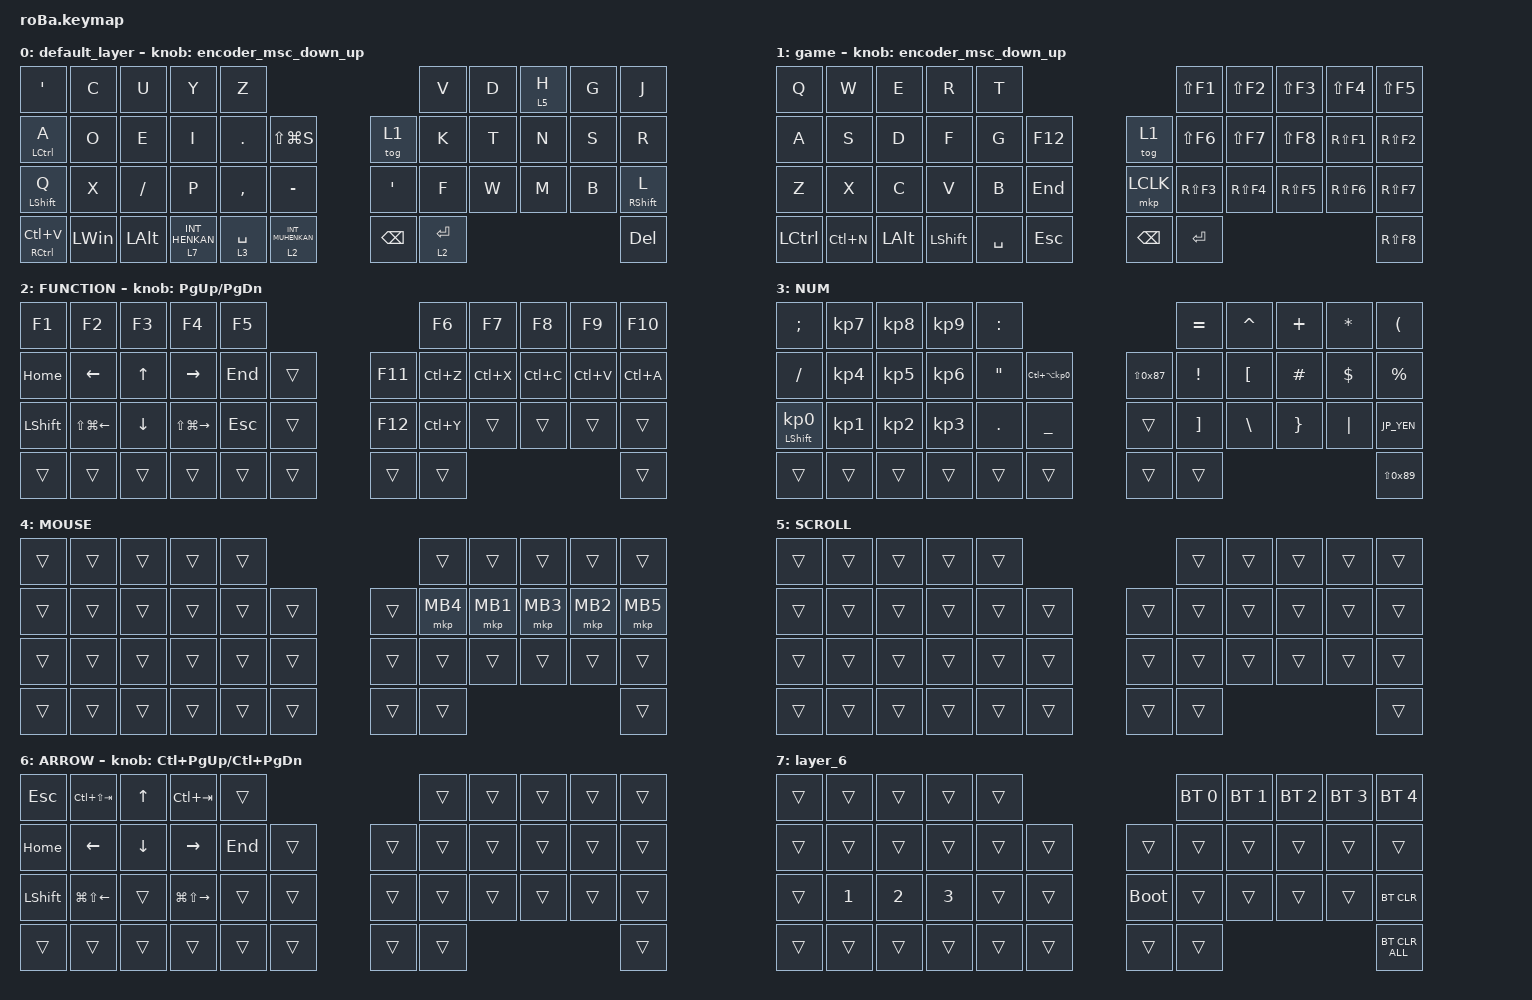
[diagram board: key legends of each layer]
#include <input/processors.dtsi>
#include <behaviors.dtsi>
#include <dt-bindings/zmk/bt.h>
#include <dt-bindings/zmk/keys.h>
#include <dt-bindings/zmk/pointing.h>

#define JP_DQUOTE       AT                // "
#define JP_AMPERSAND    CARET             // &
#define JP_QUOTE        AMPERSAND         // '
#define JP_EQUAL        UNDER             // =
#define JP_CARET        EQUAL             // ^
#define JP_YEN          0x89              // ¥
#define JP_PLUS         COLON             // +
#define JP_TILDE        PLUS              // ~
#define JP_PIPE         LS(0x89)          // |
#define JP_AT           LEFT_BRACKET      // @
#define JP_COLON        SINGLE_QUOTE      // :
#define JP_ASTERISK     DOUBLE_QUOTES     // *
#define JP_BACKQUOTE    LEFT_BRACE        // `
#define JP_UNDERSCORE   LS(0x87)          // _
#define JP_LBRACKET     RIGHT_BRACKET     // [
#define JP_RBRACKET     BACKSLASH         // ]
#define JP_LPAREN       ASTERISK          // (
#define JP_RPAREN       LEFT_PARENTHESIS  // )
#define JP_LBRACE       RIGHT_BRACE       // {
#define JP_RBRACE       PIPE              // }
#define JP_KANA         LANGUAGE_1        // かな
#define JP_EISU         LANGUAGE_2        // 英数
#define JP_HANZEN       GRAVE             // 半角/全角
#define ZMK_POINTING_DEFAULT_SCRL_VAL 80
#define MOUSE 4

&mt {
    flavor = "balanced";
    quick-tap-ms = <0>;
};

&zip_temp_layer {
    excluded-positions = <
        17 // H
        18 // J
        19 // K
        20 // l
        21 // ;
        22 // z
        33 // /
    >;
};

&trackball_listener { input-processors = <&zip_temp_layer 4 9000>; };

&trackball {
    // automouse-layer = <4>;

    scroll-layers = <5>;

    // arrows {
    //     layers = <3>;
    //     bindings =
    //         <&kp RIGHT_ARROW>,
    //         <&kp LEFT_ARROW>,
    //         <&kp UP_ARROW>,
    //         <&kp DOWN_ARROW>;
    //     tick = <10>;
    //     wait-ms = <5>;
    //     tap-ms = <5>;
    // };
};

&mkp_input_listener { input-processors = <&zip_temp_layer 4 250>; };

&zip_temp_layer { require-prior-idle-ms = <200>; };

/ {
    combos {
        compatible = "zmk,combos";

        tab {
            bindings = <&kp TAB>;
            key-positions = <11 12>;
        };

        shift_tab {
            bindings = <&kp LS(TAB)>;
            key-positions = <12 13>;
        };

        muhennkann {
            bindings = <&to_layer_0 INT_MUHENKAN>;
            key-positions = <11 10>;
        };

        double_quotation {
            bindings = <&kp JP_DQUOTE>;
            key-positions = <20 21>;
        };

        eq {
            bindings = <&kp JP_EQUAL>;
            key-positions = <24 25>;
        };

        nobasi {
            bindings = <&kp MINUS>;
            key-positions = <19 20>;
        };
    };

    macros {
        to_layer_0: to_layer_0 {
            compatible = "zmk,behavior-macro-one-param";
            #binding-cells = <1>;
            bindings = <&to 0 &macro_param_1to1 &kp MACRO_PLACEHOLDER>;
            label = "TO_LAYER_0";
        };

        exit_AML: exit_AML {
            compatible = "zmk,behavior-macro";
            wait-ms = <0>;
            tap-ms = <0>;
            #binding-cells = <0>;
            bindings = <&tog_off 4>;
            label = "exit_AML";
        };

        kp_exit_AML: kp_exit_AML {
            compatible = "zmk,behavior-macro-one-param";
            wait-ms = <0>;
            tap-ms = <0>;
            #binding-cells = <1>;
            bindings = <&macro_param_1to1 &kp MACRO_PLACEHOLDER &exit_AML>;
            label = "KP_exit_AML";
        };
    };

    behaviors {
        encoder_msc_down_up: encoder_msc_down_up {
            compatible = "zmk,behavior-sensor-rotate";
            label = "ENCODER_MSC_DOWN_UP";
            #sensor-binding-cells = <0>;
            bindings = <&msc SCRL_DOWN>, <&msc SCRL_UP>;

            tap-ms = <20>;
        };

        lt_to_layer_0: lt_to_layer_0 {
            compatible = "zmk,behavior-hold-tap";
            label = "LAYER_TAP_TO_0";
            bindings = <&mo>, <&to_layer_0>;

            #binding-cells = <2>;
            tapping-term-ms = <200>;
        };

        tog_off: toggle_layer_off {
            compatible = "zmk,behavior-toggle-layer";
            #binding-cells = <1>;
            display-name = "Toggle Layer Off";
            toggle-mode = "off";
        };

        mt_exit_AML_on_tap: mt_exit_AML_on_tap {
            compatible = "zmk,behavior-hold-tap";
            label = "MT_exit_AML_ON_TAP";
            bindings = <&kp>, <&kp_exit_AML>;

            #binding-cells = <2>;
            tapping-term-ms = <200>;
            flavor = "balanced";
            quick-tap-ms = <200>;
        };
    };

    keymap {
        compatible = "zmk,keymap";

        default_layer {
            bindings = <
&kp APOSTROPHE    &kp C         &kp U         &kp Y                        &kp Z                                                          &kp V        &kp D  &lt 5 H  &kp G  &kp J
&mt LCTRL A       &kp O         &kp E         &kp I                        &kp PERIOD   &kp LS(LG(S))                      &tog 1         &kp K        &kp T  &kp N    &kp S  &kp R
&mt LEFT_SHIFT Q  &kp X         &kp SLASH     &kp P                        &kp COMMA    &kp MINUS                          &kp APOS       &kp F        &kp W  &kp M    &kp B  &mt RIGHT_SHIFT L
&mt RCTRL LC(V)   &kp LEFT_WIN  &kp LEFT_ALT  &lt_to_layer_0 7 INT_HENKAN  &lt 3 SPACE  &lt_to_layer_0 2 INT_MUHENKAN      &kp BACKSPACE  &lt 2 ENTER                         &kp DEL
            >;

            sensor-bindings = <&encoder_msc_down_up>;
        };

        game {
            bindings = <
&kp Q      &kp W      &kp E         &kp R       &kp T                                     &kp LS(F1)  &kp LS(F2)  &kp LS(F3)  &kp LS(F4)  &kp LS(F5)
&kp A      &kp S      &kp D         &kp F       &kp G      &kp F12         &tog 1         &kp LS(F6)  &kp LS(F7)  &kp LS(F8)  &kp RS(F1)  &kp RS(F2)
&kp Z      &kp X      &kp C         &kp V       &kp B      &kp END         &mkp LCLK      &kp RS(F3)  &kp RS(F4)  &kp RS(F5)  &kp RS(F6)  &kp RS(F7)
&kp LCTRL  &kp LC(N)  &kp LEFT_ALT  &kp LSHIFT  &kp SPACE  &kp ESCAPE      &kp BACKSPACE  &kp ENTER                                       &kp RS(F8)
            >;

            sensor-bindings = <&encoder_msc_down_up>;
        };

        FUNCTION {
            bindings = <
&kp F1          &kp F2                  &kp F3        &kp F4                   &kp F5                           &kp F6     &kp F7     &kp F8     &kp F9     &kp F10
&kp HOME        &kp LEFT                &kp UP_ARROW  &kp RIGHT                &kp END     &trans      &kp F11  &kp LC(Z)  &kp LC(X)  &kp LC(C)  &kp LC(V)  &kp LC(A)
&kp LEFT_SHIFT  &kp LS(LG(LEFT_ARROW))  &kp DOWN      &kp LS(LG(RIGHT_ARROW))  &kp ESCAPE  &trans      &kp F12  &kp LC(Y)  &trans     &trans     &trans     &trans
&trans          &trans                  &trans        &trans                   &trans      &trans      &trans   &trans                                      &trans
            >;

            sensor-bindings = <&inc_dec_kp PG_UP PAGE_DOWN>;
        };

        NUM {
            bindings = <
&kp SEMI                    &kp KP_NUMBER_7  &kp KP_NUMBER_8  &kp KP_NUMBER_9  &kp JP_PLUS                                                      &kp JP_CARET     &kp JP_AMPERSAND  &kp JP_TILDE   &kp JP_LPAREN  &kp JP_RPAREN
&kp SLASH                   &kp KP_NUMBER_4  &kp KP_NUMBER_5  &kp KP_NUMBER_6  &kp JP_ASTERISK  &kp LC(LA(KP_NUMBER_0))      &kp JP_UNDERSCORE  &kp EXCLAMATION  &kp JP_AT         &kp HASH       &kp DOLLAR     &kp PERCENT
&mt LEFT_SHIFT KP_NUMBER_0  &kp KP_NUMBER_1  &kp KP_NUMBER_2  &kp KP_NUMBER_3  &kp PERIOD       &kp JP_EQUAL                 &trans             &kp JP_LBRACKET  &kp JP_RBRACKET   &kp JP_LBRACE  &kp JP_RBRACE  &kp JP_YEN
&trans                      &trans           &trans           &trans           &trans           &trans                       &trans             &trans                                                           &kp JP_PIPE
            >;
        };

        MOUSE {
            bindings = <
&trans  &trans  &trans  &trans  &trans                      &trans    &trans    &trans    &trans    &trans
&trans  &trans  &trans  &trans  &trans  &trans      &trans  &mkp MB4  &mkp MB1  &mkp MB3  &mkp MB2  &mkp MB5
&trans  &trans  &trans  &trans  &trans  &trans      &trans  &trans    &trans    &trans    &trans    &trans
&trans  &trans  &trans  &trans  &trans  &trans      &trans  &trans                                  &trans
            >;
        };

        SCROLL {
            bindings = <
&trans  &trans  &trans  &trans  &trans                      &trans  &trans  &trans  &trans  &trans
&trans  &trans  &trans  &trans  &trans  &trans      &trans  &trans  &trans  &trans  &trans  &trans
&trans  &trans  &trans  &trans  &trans  &trans      &trans  &trans  &trans  &trans  &trans  &trans
&trans  &trans  &trans  &trans  &trans  &trans      &trans  &trans                          &trans
            >;
        };

        ARROW {
            bindings = <
&kp ESCAPE      &kp LC(LS(TAB))         &kp UP_ARROW    &kp LC(TAB)              &trans                       &trans  &trans  &trans  &trans  &trans
&kp HOME        &kp LEFT_ARROW          &kp DOWN_ARROW  &kp RIGHT_ARROW          &kp END  &trans      &trans  &trans  &trans  &trans  &trans  &trans
&kp LEFT_SHIFT  &kp LG(LS(LEFT_ARROW))  &trans          &kp LG(LS(RIGHT_ARROW))  &trans   &trans      &trans  &trans  &trans  &trans  &trans  &trans
&trans          &trans                  &trans          &trans                   &trans   &trans      &trans  &trans                          &trans
            >;

            sensor-bindings = <&inc_dec_kp LC(PAGE_UP) LC(PAGE_DOWN)>;
        };

        layer_6 {
            bindings = <
&trans  &trans        &trans        &trans        &trans                           &bt BT_SEL 0  &bt BT_SEL 1  &bt BT_SEL 2  &bt BT_SEL 3  &bt BT_SEL 4
&trans  &trans        &trans        &trans        &trans  &trans      &trans       &trans        &trans        &trans        &trans        &trans
&trans  &kp NUMBER_1  &kp NUMBER_2  &kp NUMBER_3  &trans  &trans      &bootloader  &trans        &trans        &trans        &trans        &bt BT_CLR
&trans  &trans        &trans        &trans        &trans  &trans      &trans       &trans                                                  &bt BT_CLR_ALL
            >;
        };
    };
};
